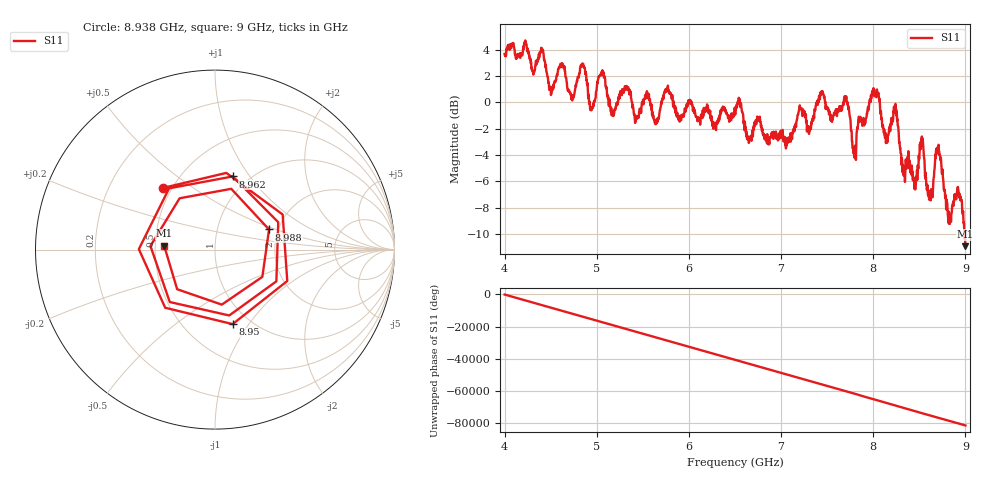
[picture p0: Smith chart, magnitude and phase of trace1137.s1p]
! Created with skrf 1.8.0 (http://scikit-rf.org).
# Hz S RI R 50.0
!freq ReS11 ImS11
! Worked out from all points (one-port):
!   1601 points, 4 GHz to 9 GHz, reference 50 ohm
!   lowest |S11| = -10.9 dB at 9 GHz (marker M1), VSWR 1.79, Z = 27.9 + j1.36 ohm
!   |S11| at or under -10 dB: 8.988895 GHz to end of sweep
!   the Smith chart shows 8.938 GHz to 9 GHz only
!   S11 on the Smith chart (normalised r, x): 8.938 GHz: 0.45, +0.39; 8.95 GHz: 0.83, -0.84; 8.962 GHz: 0.84, +0.83; 8.988 GHz: 1.79, +0.45; 9 GHz: 0.56, +0.03
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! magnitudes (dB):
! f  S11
! 4 GHz  3.7
! 4.403 GHz  3.9
! 4.506 GHz  0.7
! 4.625 GHz  3.0
! 4.734 GHz  0.1
! 4.853 GHz  2.9
! 4.941 GHz  -0.6
! 5.05 GHz  2.2
! 5.169 GHz  -0.7
! 5.25 GHz  0.3
! 5.875 GHz  -0.8
! 6.5 GHz  -0.6
! 7.125 GHz  -2.4
! 7.438 GHz  0.6
! 7.75 GHz  -1.2
! 7.794 GHz  -4.1
! 8.025 GHz  0.6
! 8.375 GHz  -4.3
! 8.453 GHz  -5.9
! 8.528 GHz  -2.6
! 8.619 GHz  -6.7
! 8.706 GHz  -3.6
! 8.825 GHz  -9.1
! 8.938 GHz  -6.9
! 8.95 GHz  -7.4
! 8.962 GHz  -7.5
! 8.988 GHz  -9.9
! 9 GHz  -10.9
